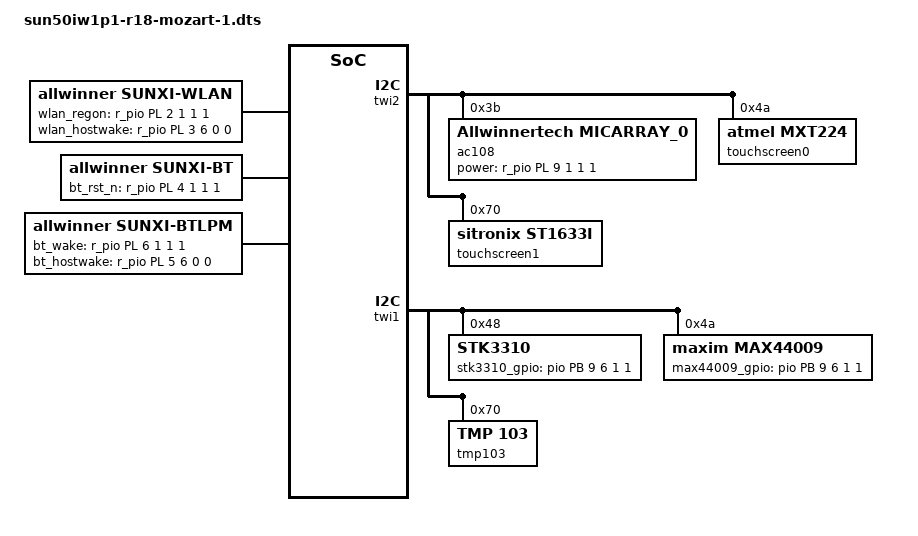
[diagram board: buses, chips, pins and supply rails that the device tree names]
/*
 * Allwinner Technology CO., Ltd. sun50iw1p1 fpga board.
 *
 * fpga board support.
 */

/dts-v1/;

#include "sun50iw1p1.dtsi"

/{
	soc@01c00000 {
		twi2: twi@0x01c2b400 {
			status = "okay";
			ac108@3b{
				compatible = "Allwinnertech,MicArray_0";
				reg = <0x3b>;
				debug_mode = <0>;
				pga_gain = <0x32>;
				ref_pga_gain = <0x08>;
				twi_bus = <2>;
				regulator_used = <1>;
				voltage_enable = "vcc-audio18";
				codec_mic_used = <0x1>;
				pa_double_used = <0x0>;
				ref_channel_num = <0x3>;
				ref_chip_addr = <0x3b>;
				slot_width = <0x18>;
				power_vol = <1800000>;
				gpio-power = <&r_pio PL 9 1 1 1 1>;
			};
			touchscreen0: atmel_ctp@4A {
				compatible = "atmel,mXT224";
				reg = <0x4A>;
				atmel,suspend_mode = <0>;
			};
			touchscreen1: sitronix@70 {
				compatible = "sitronix,st1633i";
				reg = <0x70>;
			};
		};
		twi1: twi@0x01c2b000{
			status = "okay";
			stk3310@48{
				compatible = "STK3310";
				stk3310_gpio-gpios = <&pio PB 9 6 1 1 1>;
				reg = <0x48>;
			};
			max44009@4a{
				compatible = "maxim,max44009";
				max44009_gpio-gpios = <&pio PB 9 6 1 1 1>;
				reg = <0x4a>;
			};
			tmp103@70{
				compatible = "TMP 103";
				reg = <0x70>;
			};
		};
		snddaudio0:sound@1 {
			sunxi,snddaudio-codec = "ac108.2-003b";
			sunxi,snddaudio-codec-dai = "ac108-pcm0";
		};
		keyboard0:keyboard {
			key_cnt = <3>;
			key0 = <191 115>;
			key1 = <391 114>;
			key2 = <600 542>;
		};
	};
	wlan:wlan {
		compatible = "allwinner,sunxi-wlan";
		wlan_power = "vcc-wifi";
		wlan_io_regulator = "vcc-wifi-io";
		wlan_busnum = <1>;
		wlan_regon = <&r_pio PL 2 1 1 1 0>;
		wlan_hostwake = <&r_pio PL 3 6 0 0 0>;
		status = "okay";
	};

	bt:bt {
		compatible = "allwinner,sunxi-bt";
		bt_power = "vcc-wifi";
		bt_io_regulator = "vcc-wifi-io";
		bt_rst_n = <&r_pio PL 4 1 1 1 0>;
		status = "okay";
	};

	btlpm:btlpm {
		compatible = "allwinner,sunxi-btlpm";
		uart_index = <1>;
		bt_wake = <&r_pio PL 6 1 1 1 1>;
		bt_hostwake = <&r_pio PL 5 6 0 0 0>;
		status = "okay";
	};
};
